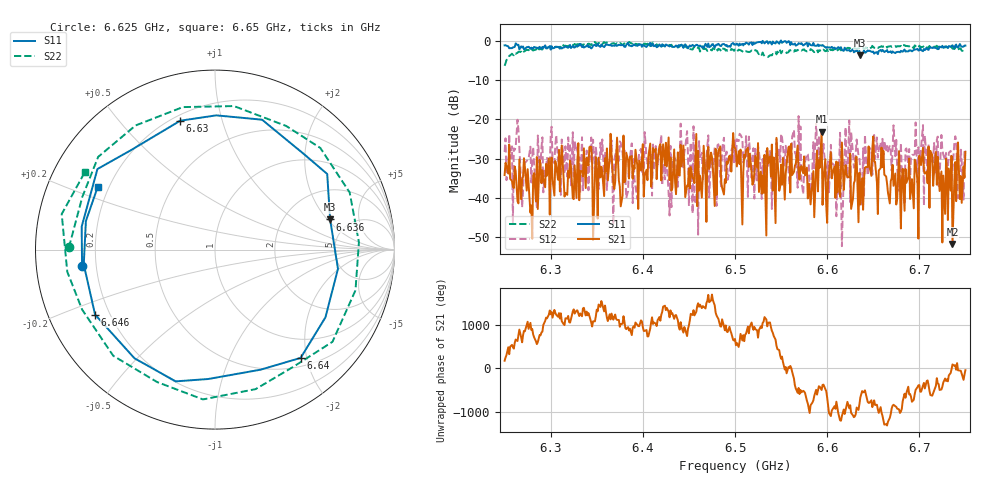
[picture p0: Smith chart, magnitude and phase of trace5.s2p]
# Hz S RI R 50
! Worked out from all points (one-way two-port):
!   401 points, 6.25 GHz to 6.75 GHz, reference 50 ohm
!   highest |S21| = -23.11 dB at 6.594 GHz (marker M1); lowest = -51.9 dB at 6.736 GHz (marker M2)
!   lowest |S11| = -3.6 dB at 6.636 GHz (marker M3), VSWR 4.93, Z = 179 + j107 ohm
!   |S11| at or under -10 dB: nowhere
!   |S22| runs from -6.3 to -0.1 dB; largest |S21 - S12| = 0.12
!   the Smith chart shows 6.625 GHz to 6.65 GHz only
!   S11 on the Smith chart (normalised r, x): 6.625 GHz: 0.15, -0.06; 6.63 GHz: 0.23, +0.74; 6.636 GHz: 3.58, +2.14; 6.64 GHz: 0.64, -1.89; 6.646 GHz: 0.14, -0.25; 6.65 GHz: 0.16, +0.24
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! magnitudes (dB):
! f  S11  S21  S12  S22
! 6.25 GHz  -1.0  -34.2  -28.3  -6.3
! 6.279 GHz  -1.6  -42.0  -36.1  -2.1
! 6.334 GHz  -1.5  -33.3  -24.5  -0.8
! 6.378 GHz  -0.9  -39.5  -28.6  -1.0
! 6.391 GHz  -0.9  -32.6  -35.3  -1.0
! 6.418 GHz  -0.8  -26.9  -27.4  -1.2
! 6.459 GHz  -0.9  -42.2  -30.0  -2.0
! 6.488 GHz  -0.7  -39.2  -24.7  -1.9
! 6.5 GHz  -0.8  -27.3  -24.9  -2.1
! 6.584 GHz  -1.0  -35.9  -32.3  -2.3
! 6.594 GHz  -1.1  -23.1  -26.6  -2.1
! 6.614 GHz  -1.7  -39.8  -23.4  -1.8
! 6.625 GHz  -2.5  -28.8  -41.2  -1.8
! 6.63 GHz  -2.6  -35.7  -32.1  -1.8
! 6.636 GHz  -3.6  -41.8  -33.5  -1.9
! 6.64 GHz  -2.3  -35.2  -39.9  -2.1
! 6.646 GHz  -2.4  -32.1  -27.2  -1.8
! 6.65 GHz  -2.6  -24.3  -25.4  -1.5
! 6.668 GHz  -2.7  -41.5  -26.6  -1.3
! 6.702 GHz  -2.2  -31.6  -26.9  -1.4
! 6.736 GHz  -1.0  -51.9  -32.9  -1.9
! 6.75 GHz  -1.1  -28.3  -28.1  -2.2
